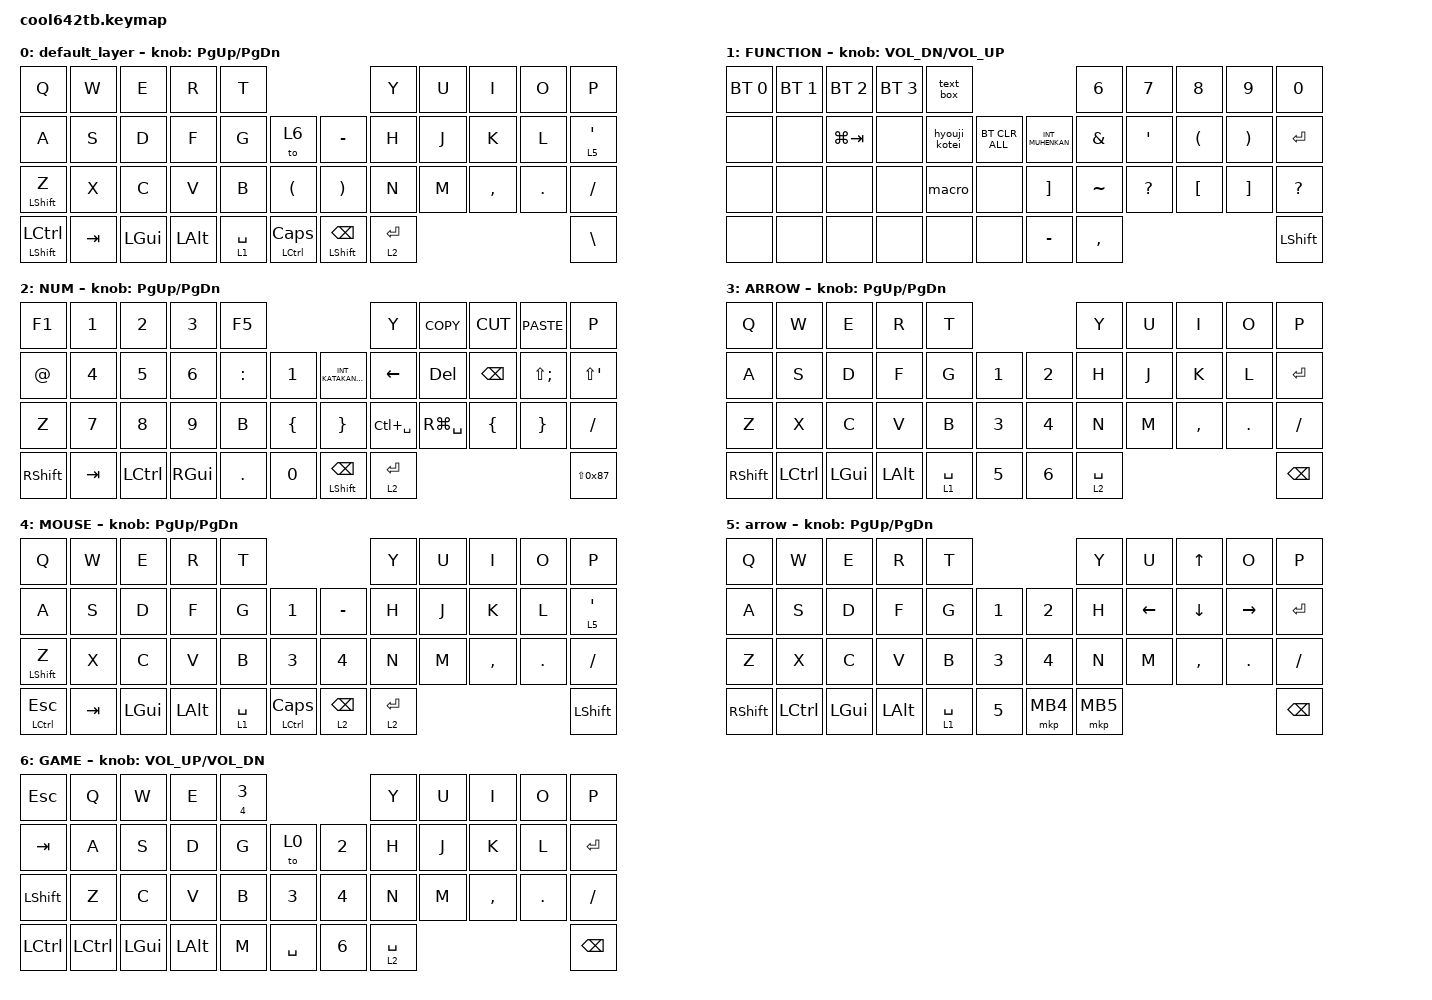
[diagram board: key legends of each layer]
#include <behaviors.dtsi>
#include <dt-bindings/zmk/bt.h>
#include <dt-bindings/zmk/keys.h>
#include <dt-bindings/zmk/pointing.h>

#define MOUSE 4
#define SCROLL 5
#define NUM 6

// OS設定を日本語キーボードのまま使用するための変換定義

#define JP_DQUOTE       AT                // "
#define JP_AMPERSAND    CARET             // &
#define JP_QUOTE        AMPERSAND         // '
#define JP_EQUAL        UNDER             // =
#define JP_CARET        EQUAL             // ^
#define JP_YEN          0x89              // ¥
#define JP_PLUS         COLON             // +
#define JP_TILDE        PLUS              // ~
#define JP_PIPE         LS(0x89)          // |
#define JP_AT           LEFT_BRACKET      // @
#define JP_COLON        SINGLE_QUOTE      // :
#define JP_ASTERISK     DOUBLE_QUOTES     // *
#define JP_BACKQUOTE    LEFT_BRACE        // `
#define JP_UNDERSCORE   LS(0x87)          // _
#define JP_LBRACKET     RIGHT_BRACKET     // [
#define JP_RBRACKET     BACKSLASH         // ]
#define JP_LPAREN       ASTERISK          // (
#define JP_RPAREN       LEFT_PARENTHESIS  // )
#define JP_LBRACE       RIGHT_BRACE       // {
#define JP_RBRACE       PIPE              // }
#define JP_KANA         LANGUAGE_1        // かな
#define JP_EISU         LANGUAGE_2        // 英数
#define JP_HANZEN       GRAVE             // 半角/全角

// hold-tapビヘイビアの改善設定

&mt {
    flavor = "tap-preferred";  // balanced → tap-preferredに変更
    tapping-term-ms = <200>;   // タッピング時間を明示的に設定
    quick-tap-ms = <175>;      // 0 → 175msに変更
    require-prior-idle-ms = <0>;  // 事前のアイドル時間を追加
};

&lt {
    flavor = "tap-preferred";  // balanced → tap-preferredに変更  
    tapping-term-ms = <200>;   // タッピング時間を明示的に設定
    quick-tap-ms = <175>;      // 0 → 175msに変更
    require-prior-idle-ms = <0>;  // 事前のアイドル時間を追加
};

/ {
    combos {
        compatible = "zmk,combos";

        comb1 {
            bindings = <&kp TAB>;
            key-positions = <12 13>;
        };

        comb2 {
            bindings = <&kp ESCAPE>;
            key-positions = <0 1>;
        };

        Lcrick {
            bindings = <&mkp MB1>;
            key-positions = <18 19>;
        };

        Rcrick {
            bindings = <&mkp MB2>;
            key-positions = <19 20>;
        };

        Mcrick {
            bindings = <&mkp MB3>;
            key-positions = <19 20 18>;
        };

        at {
            bindings = <&kp LEFT_BRACKET>;
            key-positions = <30 31>;
        };

        scrool {
            bindings = <&mo 1>;
            key-positions = <18 20>;
            require-prior-idle-ms = <1>;
        };

        delete {
            bindings = <&kp DELETE>;
            key-positions = <8 9>;
        };

        backspace {
            bindings = <&kp BACKSPACE>;
            key-positions = <20 21>;
        };

        copy {
            bindings = <&kp LC(C)>;
            key-positions = <6 7>;
        };

        paste {
            bindings = <&kp LC(V)>;
            key-positions = <7 8>;
        };
    };

    macros {
        to_layer_0: to_layer_0 {
            compatible = "zmk,behavior-macro-one-param";
            #binding-cells = <1>;
            bindings = <&to 0 &macro_param_1to1 &kp MACRO_PLACEHOLDER>;
            label = "TO_LAYER_0";
        };

        hyouji_kotei: hyouji_kotei {
            compatible = "zmk,behavior-macro";
            #binding-cells = <0>;
            bindings = <&kp LEFT_ALT &kp W &kp F &kp F>;
            label = "HYOUJI_KOTEI";
        };

        macro: macro {
            compatible = "zmk,behavior-macro";
            #binding-cells = <0>;
            bindings = <&kp LEFT_ALT &kp W &kp M &kp V>;
            label = "MACRO";
        };

        text_box: text_box {
            compatible = "zmk,behavior-macro";
            #binding-cells = <0>;
            bindings = <&kp LEFT_ALT &kp N &kp X &kp H>;
            label = "TEXT_BOX";
        };
    };

    behaviors {
        // より応答性の高いlayer-tapビヘイビアを定義

        lt_responsive: lt_responsive {
            compatible = "zmk,behavior-hold-tap";
            label = "LAYER_TAP_RESPONSIVE";
            bindings = <&mo>, <&kp>;

            #binding-cells = <2>;
            flavor = "hold-preferred";
            tapping-term-ms = <150>;  // より短いタッピング時間
            quick-tap-ms = <125>;
            require-prior-idle-ms = <0>;
        };

        lt_to_layer_0: lt_to_layer_0 {
            compatible = "zmk,behavior-hold-tap";
            label = "LAYER_TAP_TO_0";
            bindings = <&mo>, <&to_layer_0>;

            #binding-cells = <2>;
            tapping-term-ms = <150>;  // より短いタッピング時間
            flavor = "tap-preferred";
            quick-tap-ms = <125>;
            require-prior-idle-ms = <0>;
        };
    };

    keymap {
        compatible = "zmk,keymap";

        default_layer {
            bindings = <
&kp Q                 &kp W    &kp E         &kp R         &kp T                                                                   &kp Y                   &kp U  &kp I      &kp O       &kp P
&kp A                 &kp S    &kp D         &kp F         &kp G                   &to 6                 &kp MINUS                 &kp H                   &kp J  &kp K      &kp L       &lt_responsive 5 SINGLE_QUOTE
&mt LEFT_SHIFT Z      &kp X    &kp C         &kp V         &kp B                   &kp LEFT_PARENTHESIS  &kp RIGHT_PARENTHESIS     &kp N                   &kp M  &kp COMMA  &kp PERIOD  &kp SLASH
&mt LEFT_SHIFT LCTRL  &kp TAB  &kp LEFT_GUI  &kp LEFT_ALT  &lt_responsive 1 SPACE  &mt LCTRL CAPSLOCK    &mt LEFT_SHIFT BACKSPACE  &lt_responsive 2 ENTER                                &kp BACKSLASH
            >;

            sensor-bindings = <&inc_dec_kp PG_UP PAGE_DOWN>;
        };

        FUNCTION {
            bindings = <
&bt BT_SEL 0  &bt BT_SEL 1  &bt BT_SEL 2  &bt BT_SEL 3  &text_box                                         &kp N6         &kp N7        &kp N8                &kp N9                 &kp N0
&none         &none         &kp LG(TAB)   &none         &hyouji_kotei  &bt BT_CLR_ALL  &kp INT_MUHENKAN   &kp AMPERSAND  &kp SQT       &kp LEFT_PARENTHESIS  &kp RIGHT_PARENTHESIS  &kp ENTER
&none         &none         &none         &none         &macro         &none           &kp RIGHT_BRACKET  &kp TILDE      &kp QUESTION  &kp LEFT_BRACKET      &kp RIGHT_BRACKET      &kp QUESTION
&none         &none         &none         &none         &none          &none           &kp MINUS          &kp COMMA                                                                 &kp LEFT_SHIFT
            >;

            sensor-bindings = <&inc_dec_kp C_VOL_DN C_VOL_UP>;
        };

        NUM {
            bindings = <
&kp F1       &kp NUMBER_1  &kp NUMBER_2  &kp NUMBER_3  &kp F5                                                &kp Y                   &kp K_COPY     &kp K_CUT       &kp K_PASTE      &kp P
&kp AT_SIGN  &kp NUMBER_4  &kp N5        &kp NUMBER_6  &kp COLON   &kp N1          &kp INT_KATAKANAHIRAGANA  &kp LEFT                &kp DELETE     &kp BACKSPACE   &kp LS(SEMI)     &kp LS(APOS)
&kp Z        &kp N7        &kp N8        &kp N9        &kp B       &kp LEFT_BRACE  &kp RIGHT_BRACE           &kp LC(SPACE)           &kp RG(SPACE)  &kp LEFT_BRACE  &kp RIGHT_BRACE  &kp SLASH
&kp RSHIFT   &kp TAB       &kp LCTRL     &kp RGUI      &kp PERIOD  &kp N0          &mt LEFT_SHIFT BACKSPACE  &lt_responsive 2 ENTER                                                  &kp JP_UNDERSCORE
            >;

            sensor-bindings = <&inc_dec_kp PG_UP PAGE_DOWN>;
        };

        ARROW {
            bindings = <
&kp Q       &kp W      &kp E     &kp R     &kp T                                   &kp Y                   &kp U  &kp I      &kp O       &kp P
&kp A       &kp S      &kp D     &kp F     &kp G                   &kp N1  &kp N2  &kp H                   &kp J  &kp K      &kp L       &kp ENTER
&kp Z       &kp X      &kp C     &kp V     &kp B                   &kp N3  &kp N4  &kp N                   &kp M  &kp COMMA  &kp PERIOD  &kp SLASH
&kp RSHIFT  &kp LCTRL  &kp LGUI  &kp LALT  &lt_responsive 1 SPACE  &kp N5  &kp N6  &lt_responsive 2 SPACE                                &kp BSPC
            >;

            sensor-bindings = <&inc_dec_kp PG_UP PAGE_DOWN>;
        };

        MOUSE {
            bindings = <
&kp Q             &kp W    &kp E         &kp R         &kp T                                                                   &kp Y                   &kp U  &kp I      &kp O       &kp P
&kp A             &kp S    &kp D         &kp F         &kp G                   &kp N1              &kp MINUS                   &kp H                   &kp J  &kp K      &kp L       &lt_responsive 5 SINGLE_QUOTE
&mt LEFT_SHIFT Z  &kp X    &kp C         &kp V         &kp B                   &kp N3              &kp N4                      &kp N                   &kp M  &kp COMMA  &kp PERIOD  &kp SLASH
&mt LCTRL ESCAPE  &kp TAB  &kp LEFT_GUI  &kp LEFT_ALT  &lt_responsive 1 SPACE  &mt LCTRL CAPSLOCK  &lt_responsive 2 BACKSPACE  &lt_responsive 2 ENTER                                &kp LEFT_SHIFT
            >;

            sensor-bindings = <&inc_dec_kp PG_UP PAGE_DOWN>;
        };

        arrow {
            bindings = <
&kp Q       &kp W      &kp E     &kp R     &kp T                                     &kp Y     &kp U     &kp UP     &kp O       &kp P
&kp A       &kp S      &kp D     &kp F     &kp G                   &kp N1  &kp N2    &kp H     &kp LEFT  &kp DOWN   &kp RIGHT   &kp ENTER
&kp Z       &kp X      &kp C     &kp V     &kp B                   &kp N3  &kp N4    &kp N     &kp M     &kp COMMA  &kp PERIOD  &kp SLASH
&kp RSHIFT  &kp LCTRL  &kp LGUI  &kp LALT  &lt_responsive 1 SPACE  &kp N5  &mkp MB4  &mkp MB5                                   &kp BSPC
            >;

            sensor-bindings = <&inc_dec_kp PG_UP PAGE_DOWN>;
        };

        GAME {
            bindings = <
&kp ESC         &kp Q      &kp W     &kp E     &mt NUMBER_4 NUMBER_3                     &kp Y                   &kp U  &kp I      &kp O       &kp P
&kp TAB         &kp A      &kp S     &kp D     &kp G                  &to 0      &kp N2  &kp H                   &kp J  &kp K      &kp L       &kp ENTER
&kp LEFT_SHIFT  &kp Z      &kp C     &kp V     &kp B                  &kp N3     &kp N4  &kp N                   &kp M  &kp COMMA  &kp PERIOD  &kp SLASH
&kp LCTRL       &kp LCTRL  &kp LGUI  &kp LALT  &kp M                  &kp SPACE  &kp N6  &lt_responsive 2 SPACE                                &kp BSPC
            >;

            sensor-bindings = <&inc_dec_kp C_VOL_UP C_VOL_DN>;
        };
    };
};
